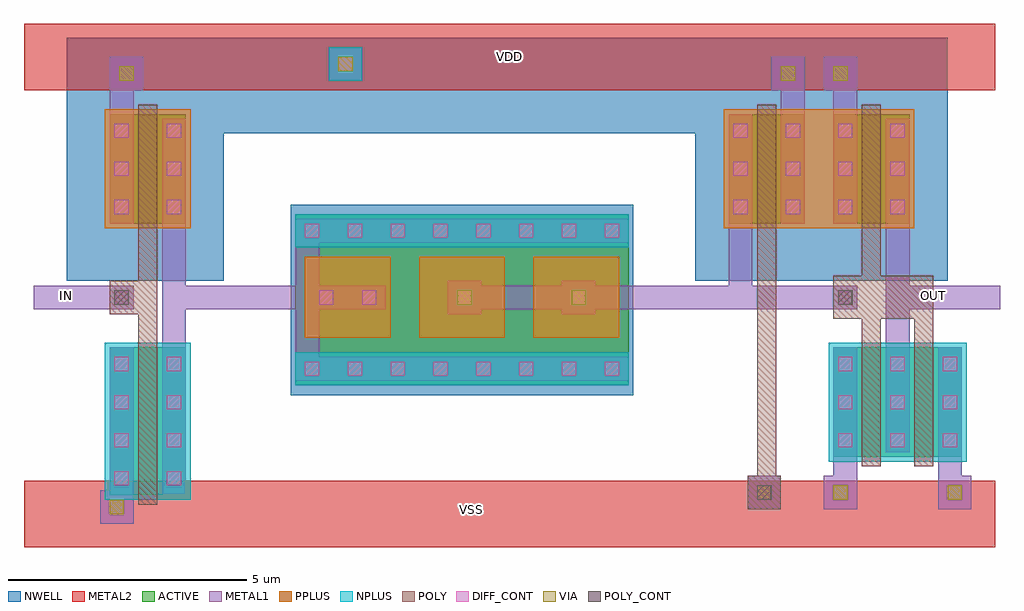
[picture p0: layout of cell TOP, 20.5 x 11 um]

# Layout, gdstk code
import gdstk
lib = gdstk.Library(unit=1e-6, precision=1e-09)
def R(c, l, rs):  # rectangles x0, y0, x1, y1
    for r in rs: c.add(gdstk.rectangle(r[:2], r[2:], *l))
def A(c, l, x, y, w, h, nx, ny, dx, dy):  # array of equal rectangles
    R(c, l, [(x+i*dx, y+j*dy, x+i*dx+w, y+j*dy+h) for i in range(nx) for j in range(ny)])
def P(c, l, *ps):  # polygons
    for p in ps: c.add(gdstk.Polygon(p, *l))
NWELL = (1, 0)
ACTIVE = (2, 0)
POLY = (3, 0)
DIFF_CONT = (4, 0)
POLY_CONT = (5, 0)
METAL1 = (6, 0)
VIA = (7, 0)
METAL2 = (8, 0)
PPLUS = (9, 0)
NPLUS = (10, 0)

trans2 = lib.new_cell('TRANS2')
R(trans2, ACTIVE, [(-0.8,-1.1,0.8,2)])
R(trans2, POLY, [(-0.2,-1.3,0.2,2.2)])
A(trans2, DIFF_CONT, -0.7, -0.9, 0.3, 0.3, 1, 4, 0, 0.8)
A(trans2, DIFF_CONT, 0.4, -0.9, 0.3, 0.3, 1, 4, 0, 0.8)

trans = lib.new_cell('TRANS')
R(trans, ACTIVE, [(-0.8,-1.1,0.8,1.2)])
R(trans, POLY, [(-0.2,-1.3,0.2,1.4)])
A(trans, DIFF_CONT, -0.7, -0.9, 0.3, 0.3, 1, 3, 0, 0.8)
A(trans, DIFF_CONT, 0.4, -0.9, 0.3, 0.3, 1, 3, 0, 0.8)

top = lib.new_cell('TOP')
R(top, NWELL, [(3,-3.2,10.2,0.8)])
P(top, NWELL, [(-1.7,-0.8),(-1.7,4.3),(16.8,4.3),(16.8,-0.8),(11.5,-0.8),(11.5,2.3),(1.6,2.3),(1.6,-0.8)])
R(top, ACTIVE, [(3.1,-3,10.1,0.6)])
R(top, POLY, [(12.6,-5.6,13.3,-4.9), (12.8,-5.6,13.2,0.3), (-0.2,-2.2,0.2,0.6), (15,-2.2,15.4,0.6), (16.1,-2,16.5,-0.7), (14.4,-1.6,16.5,-0.7), (-0.8,-1.5,0.2,-0.8)])
A(top, DIFF_CONT, 3.3, -2.8, 0.3, 0.3, 8, 2, 0.9, 2.9)
R(top, DIFF_CONT, [(3.6,-1.3,3.9,-1), (4.5,-1.3,4.8,-1), (6.5,-1.3,6.8,-1), (8.9,-1.3,9.2,-1), (4,3.6,4.3,3.9)])
R(top, POLY_CONT, [(12.8,-5.4,13.1,-5.1), (-0.7,-1.3,-0.4,-1), (14.5,-1.3,14.8,-1)])
R(top, METAL1, [(-1,-5.9,-0.3,-5.2), (12.6,-5.6,13.3,-4.9), (14.2,-5.6,14.9,-4.9), (16.6,-5.6,17.3,-4.9), (-0.8,-5.5,-0.3,-2.2), (0.3,-5.3,0.8,2.6), (14.4,-5,14.9,-2.2), (16.6,-5,17.1,-2.2), (15.5,-4.4,16,2.6), (3.1,-2.9,3.6,0.5), (3.1,-2.9,10.1,-2.4), (6.3,-1.5,7,-0.8), (8.7,-1.5,9.4,-0.8), (-2.4,-1.4,-0.3,-0.9), (0.5,-1.4,5,-0.9), (6.7,-1.4,14.9,-0.9), (15.8,-1.4,17.9,-0.9), (12.2,-1,12.7,2.7), (3.1,0,10.1,0.5), (-0.8,0.4,-0.3,3.2), (13.3,0.4,13.8,3.2), (14.4,0.4,14.9,3.2), (-0.8,3.2,-0.1,3.9), (13.1,3.2,13.8,3.9), (14.2,3.2,14.9,3.9), (3.8,3.4,4.5,4.1)])
R(top, VIA, [(-0.8,-5.7,-0.5,-5.4), (12.8,-5.4,13.1,-5.1), (14.4,-5.4,14.7,-5.1), (16.8,-5.4,17.1,-5.1), (6.5,-1.3,6.8,-1), (8.9,-1.3,9.2,-1), (-0.6,3.4,-0.3,3.7), (13.3,3.4,13.6,3.7), (14.4,3.4,14.7,3.7), (4,3.6,4.3,3.9)])
R(top, METAL2, [(-2.6,-6.4,17.8,-5), (-2.6,3.2,17.8,4.6)])
A(top, PPLUS, 3.3, -2, 1.8, 1.7, 3, 1, 2.4, 0)
R(top, PPLUS, [(-0.9,0.3,0.9,2.8), (12.1,0.3,16.1,2.8)])
R(top, NPLUS, [(-0.9,-5.4,0.9,-2.1), (14.3,-4.6,17.2,-2.1), (3.1,-3,10.1,-2.3), (3.1,-0.1,10.1,0.6), (3.8,3.4,4.5,4.1)])
top.add(gdstk.Reference(trans2, (0,-4.2)))
top.add(gdstk.Reference(trans, (15.2,-3.4)))
top.add(gdstk.Reference(trans, (16.3,-3.4)))
top.add(gdstk.Reference(trans, (0,1.5)))
top.add(gdstk.Reference(trans, (13,1.5)))
top.add(gdstk.Reference(trans, (15.2,1.5)))
top.add(gdstk.Label('VSS', (6.8,-5.6), layer=8, texttype=1))
top.add(gdstk.Label('VDD', (7.6,3.9), layer=8, texttype=1))
top.add(gdstk.Label('IN', (-1.7,-1.1), layer=6, texttype=1))
top.add(gdstk.Label('OUT', (16.5,-1.1), layer=6, texttype=1))
top.add(gdstk.Label('THIS CIRCUIT IS BULLSHIT ...', (6.6,5.8), layer=0, texttype=0))

lib.write_gds('TOP.gds')
